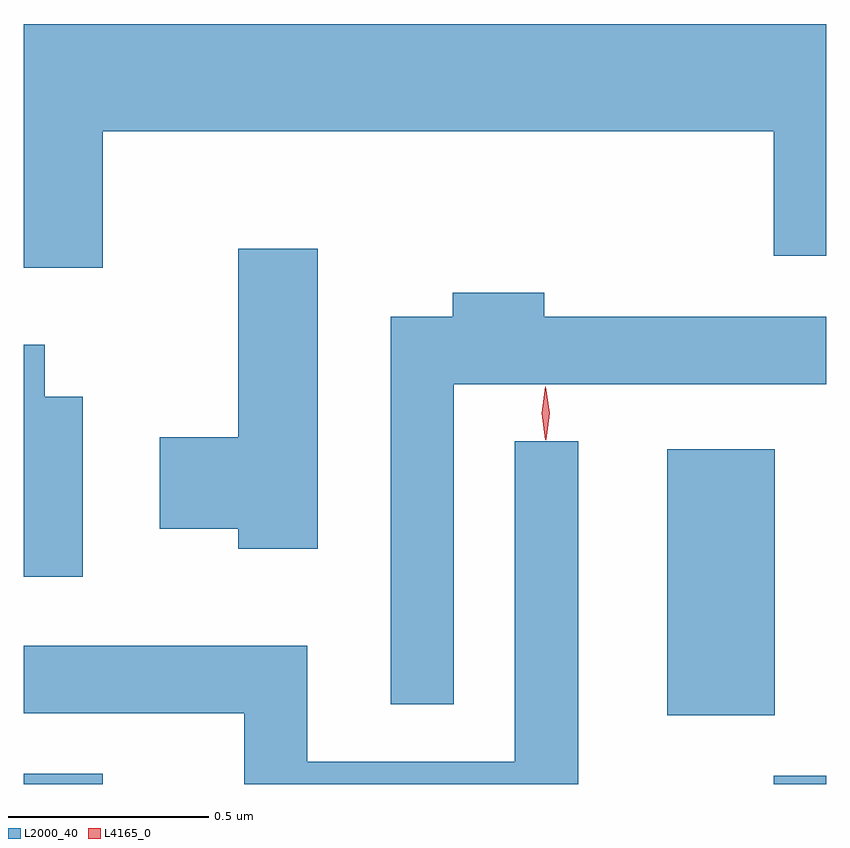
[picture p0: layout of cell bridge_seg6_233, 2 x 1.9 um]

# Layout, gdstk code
import gdstk
lib = gdstk.Library(unit=1e-6, precision=1e-09)
def R(c, l, rs):  # rectangles x0, y0, x1, y1
    for r in rs: c.add(gdstk.rectangle(r[:2], r[2:], *l))
def P(c, l, *ps):  # polygons
    for p in ps: c.add(gdstk.Polygon(p, *l))
L2000_40 = (2000, 40)
L4165_0 = (4165, 0)

bridge_seg6_233 = lib.new_cell('bridge_seg6_233')
R(bridge_seg6_233, L2000_40, [(1100.912,1550.629,1101.109,1550.654), (1102.781,1550.629,1102.912,1550.649), (1102.516,1550.801,1102.784,1551.464)])
P(bridge_seg6_233, L2000_40, [(1101.109,1552.256),(1102.781,1552.256),(1102.781,1551.946),(1102.912,1551.946),(1102.912,1552.524),(1100.912,1552.524),(1100.912,1551.916),(1101.109,1551.916)],
  [(1101.644,1551.964),(1101.446,1551.964),(1101.446,1551.494),(1101.251,1551.494),(1101.251,1551.266),(1101.446,1551.266),(1101.446,1551.216),(1101.644,1551.216)],
  [(1101.984,1551.626),(1102.912,1551.626),(1102.912,1551.794),(1102.209,1551.794),(1102.209,1551.854),(1101.981,1551.854),(1101.981,1551.794),(1101.826,1551.794),(1101.826,1550.828),(1101.984,1550.828)],
  [(1101.059,1551.594),(1100.964,1551.594),(1100.964,1551.724),(1100.912,1551.724),(1100.912,1551.146),(1101.059,1551.146)],
  [(1102.294,1551.483),(1102.136,1551.483),(1102.136,1550.684),(1101.619,1550.684),(1101.619,1550.974),(1100.912,1550.974),(1100.912,1550.806),(1101.461,1550.806),(1101.461,1550.629),(1102.294,1550.629)])
P(bridge_seg6_233, L4165_0, [(1102.212,1551.487),(1102.203,1551.554),(1102.212,1551.62),(1102.212,1551.62),(1102.213,1551.62),(1102.223,1551.554),(1102.214,1551.487),(1102.213,1551.487)])

lib.write_gds('bridge_seg6_233.gds')
